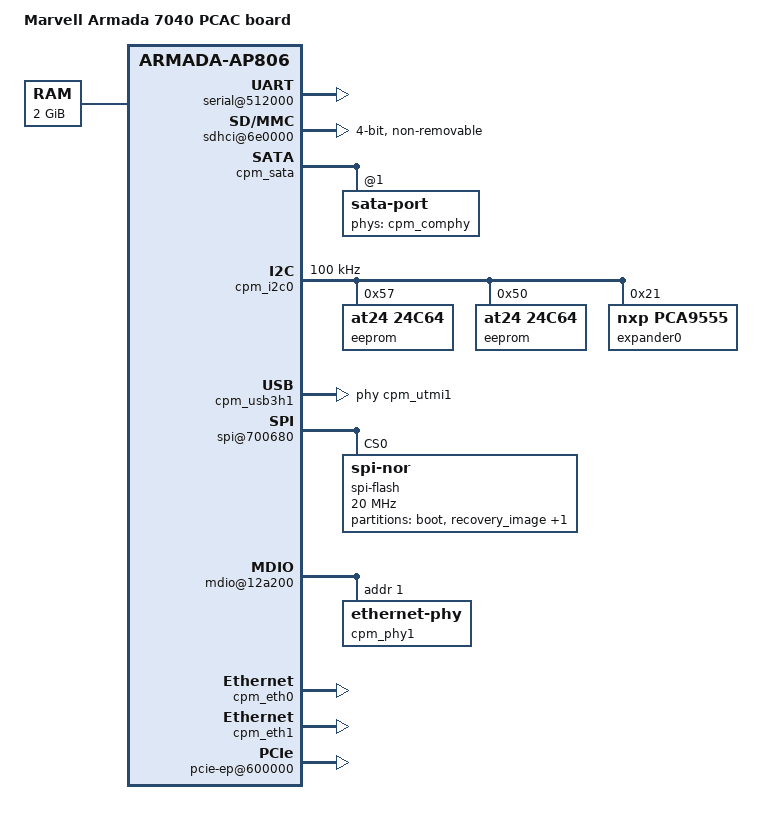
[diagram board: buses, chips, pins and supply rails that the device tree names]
/*
 * Copyright (C) 2016 Marvell Technology Group Ltd.
 *
 * This file is dual-licensed: you can use it either under the terms
 * of the GPLv2 or the X11 license, at your option. Note that this dual
 * licensing only applies to this file, and not this project as a
 * whole.
 *
 *  a) This library is free software; you can redistribute it and/or
 *     modify it under the terms of the GNU General Public License as
 *     published by the Free Software Foundation; either version 2 of the
 *     License, or (at your option) any later version.
 *
 *     This library is distributed in the hope that it will be useful,
 *     but WITHOUT ANY WARRANTY; without even the implied warranty of
 *     MERCHANTABILITY or FITNESS FOR A PARTICULAR PURPOSE.  See the
 *     GNU General Public License for more details.
 *
 * Or, alternatively,
 *
 *  b) Permission is hereby granted, free of charge, to any person
 *     obtaining a copy of this software and associated documentation
 *     files (the "Software"), to deal in the Software without
 *     restriction, including without limitation the rights to use,
 *     copy, modify, merge, publish, distribute, sublicense, and/or
 *     sell copies of the Software, and to permit persons to whom the
 *     Software is furnished to do so, subject to the following
 *     conditions:
 *
 *     The above copyright notice and this permission notice shall be
 *     included in all copies or substantial portions of the Software.
 *
 *     THE SOFTWARE IS PROVIDED "AS IS", WITHOUT WARRANTY OF ANY KIND,
 *     EXPRESS OR IMPLIED, INCLUDING BUT NOT LIMITED TO THE WARRANTIES
 *     OF MERCHANTABILITY, FITNESS FOR A PARTICULAR PURPOSE AND
 *     NONINFRINGEMENT. IN NO EVENT SHALL THE AUTHORS OR COPYRIGHT
 *     HOLDERS BE LIABLE FOR ANY CLAIM, DAMAGES OR OTHER LIABILITY,
 *     WHETHER IN AN ACTION OF CONTRACT, TORT OR OTHERWISE, ARISING
 *     FROM, OUT OF OR IN CONNECTION WITH THE SOFTWARE OR THE USE OR
 *     OTHER DEALINGS IN THE SOFTWARE.
 */

/*
 * Device Tree file for Marvell Armada 7040 Pcac Development board platform
 */

#include "armada-7040.dtsi"

/ {
	model = "Marvell Armada 7040 PCAC board";
	compatible = "marvell,armada7040-pcac", "marvell,armada7040",
			"marvell,armada-ap806-quad", "marvell,armada-ap806";
	#address-cells = <2>;
	#size-cells = <2>;

	memory@00000000 {
		device_type = "memory";
		reg = <0x0 0x0 0x0 0x80000000>;
	};

	chosen { };

	ap806 {
		config-space {
			spi0: spi@510600 {
				status = "disabled";
			};
			serial@512000 {
				status = "okay";
			};
			i2c@511000 {
				status = "disabled";
				clock-frequency = <100000>;
			};
			sd_mmc_reg0: regulator@0 {
				gpios = <&gpio0 11 GPIO_ACTIVE_HIGH>;
				gpios-states = <0>;
				states = <1800000 0x1
					3300000 0x0>;
				enable-active-high;
				status = "disabled";
			};
			sdhci@6e0000 {
				bus-width = <4>;
				no-1-8-v;
				non-removable; /* For now, need to configure the GPIO for card detect */
				status = "okay";
			};
		};
	};

	cpn-110-master {
		config-space {
			cpm_comphy: comphy {
				skip_pcie_power_off;
				status = "okay";
			};
			cpm_sata: sata@540000 {
				status = "okay";
				sata-port@0 {
					status = "disabled";
				};
				sata-port@1 {
					phys = <&cpm_comphy 5 COMPHY_SATA1>;
					phy-names = "comphy";
					status = "okay";
				};
			};
			cpm_i2c1: i2c@701100 {
				status = "disabled";
			};
			cpm_i2c0: i2c@701000 {
				status = "okay";
				clock-frequency = <100000>;
				pinctrl-names = "default";
				pinctrl-0 = <&i2c0_pins>;
				eeprom@57 {
					compatible = "at24,24c64";
					reg = <0x57>;
					pagesize = <32>;
				};
				eeprom@50 {
					compatible = "at24,24c64";
					reg = <0x50>;
					pagesize = <32>;
				};
				expander0: pca9555@21 {
					compatible = "nxp,pca9555";
					pinctrl-names = "default";
					gpio-controller;
					#gpio-cells = <2>;
					reg = <0x21>;
				};
			};
			cpm_usb3h1: usb3@510000 {
				separated-phys-for-usb2-usb3;
				phys = <&cpm_utmi1>;
				phy-names = "usb2";
				status = "okay";
			};
			spi@700680 {
				status = "okay";
				spi-flash@0 {
					#address-cells = <0x1>;
					#size-cells = <0x1>;
					compatible = "jedec,spi-nor";
					reg = <0x0>;
					spi-max-frequency = <20000000>;
					partition@0 {
						label = "boot";
						reg = <0x0 0x200000>;
					};
					partition@200000 {
						label = "recovery_image";
						reg = <0x200000 0x200000>;
					};
					partition@400000 {
						label = "Filesystem";
						reg = <0x400000 0xc00000>;
					};
				};
			};

			nand@720000 {
				nand-ecc-strength = <4>;
				nand-ecc-step-size = <512>;
				status = "disabled";
				partition@0 {
					label = "U-Boot";
					reg = <0 0x200000>;
				};
				partition@200000 {
					label = "Linux";
					reg = <0x200000 0xd00000>;
				};
				partition@1000000 {
					label = "Filesystem";
					reg = <0x1000000 0x3f000000>;
				};
			};

			mdio@12a200 {
				#address-cells = <1>;
				#size-cells = <0>;
				cpm_phy1: ethernet-phy@1 {
					reg = <1>;
				};
			};

			gop {
				cpm_emac0: mac0 {
					phy-mode = "sfi"; /* lane-4 */
					phys = <&cpm_comphy 4 COMPHY_SFI>;
					phy-names = "comphy";
				};
				cpm_emac2: mac2 {
					phy-mode = "rgmii"; /* lane-0 */
					phy = <&cpm_phy1>;
				};
				cpm_emac3: mac3 {
					phy-mode = "none"; /* rgmii-1 */
				};
			};
			ppv22@000000 {
				l4_chksum_jumbo_port = <0>;
				cpm_eth0: eth0@010000 {
					status = "okay";
				};
				cpm_eth1: eth1@020000 {
					status = "okay";
				};
				cpm_eth2: eth2@030000 {
					status = "disabled";
				};
			};

			cpm_utmi1: utmi@581000 {
				status = "okay";
			};
		};

		pci-ep-uio {
			compatible = "marvell,pci-ep-uio";
			reg = <0 0 0 0x100000>, <0x80 0x00000000 0x1 0x000000000>;
			reg-names = "bar0", "host-map";
			device-id = <0x7080>;
			class-code = <0x2>;
			subclass-code = <0x0>;
			status = "okay";
		};

		pcie-ep@600000 {
			status = "okay";
		};
	};
};
